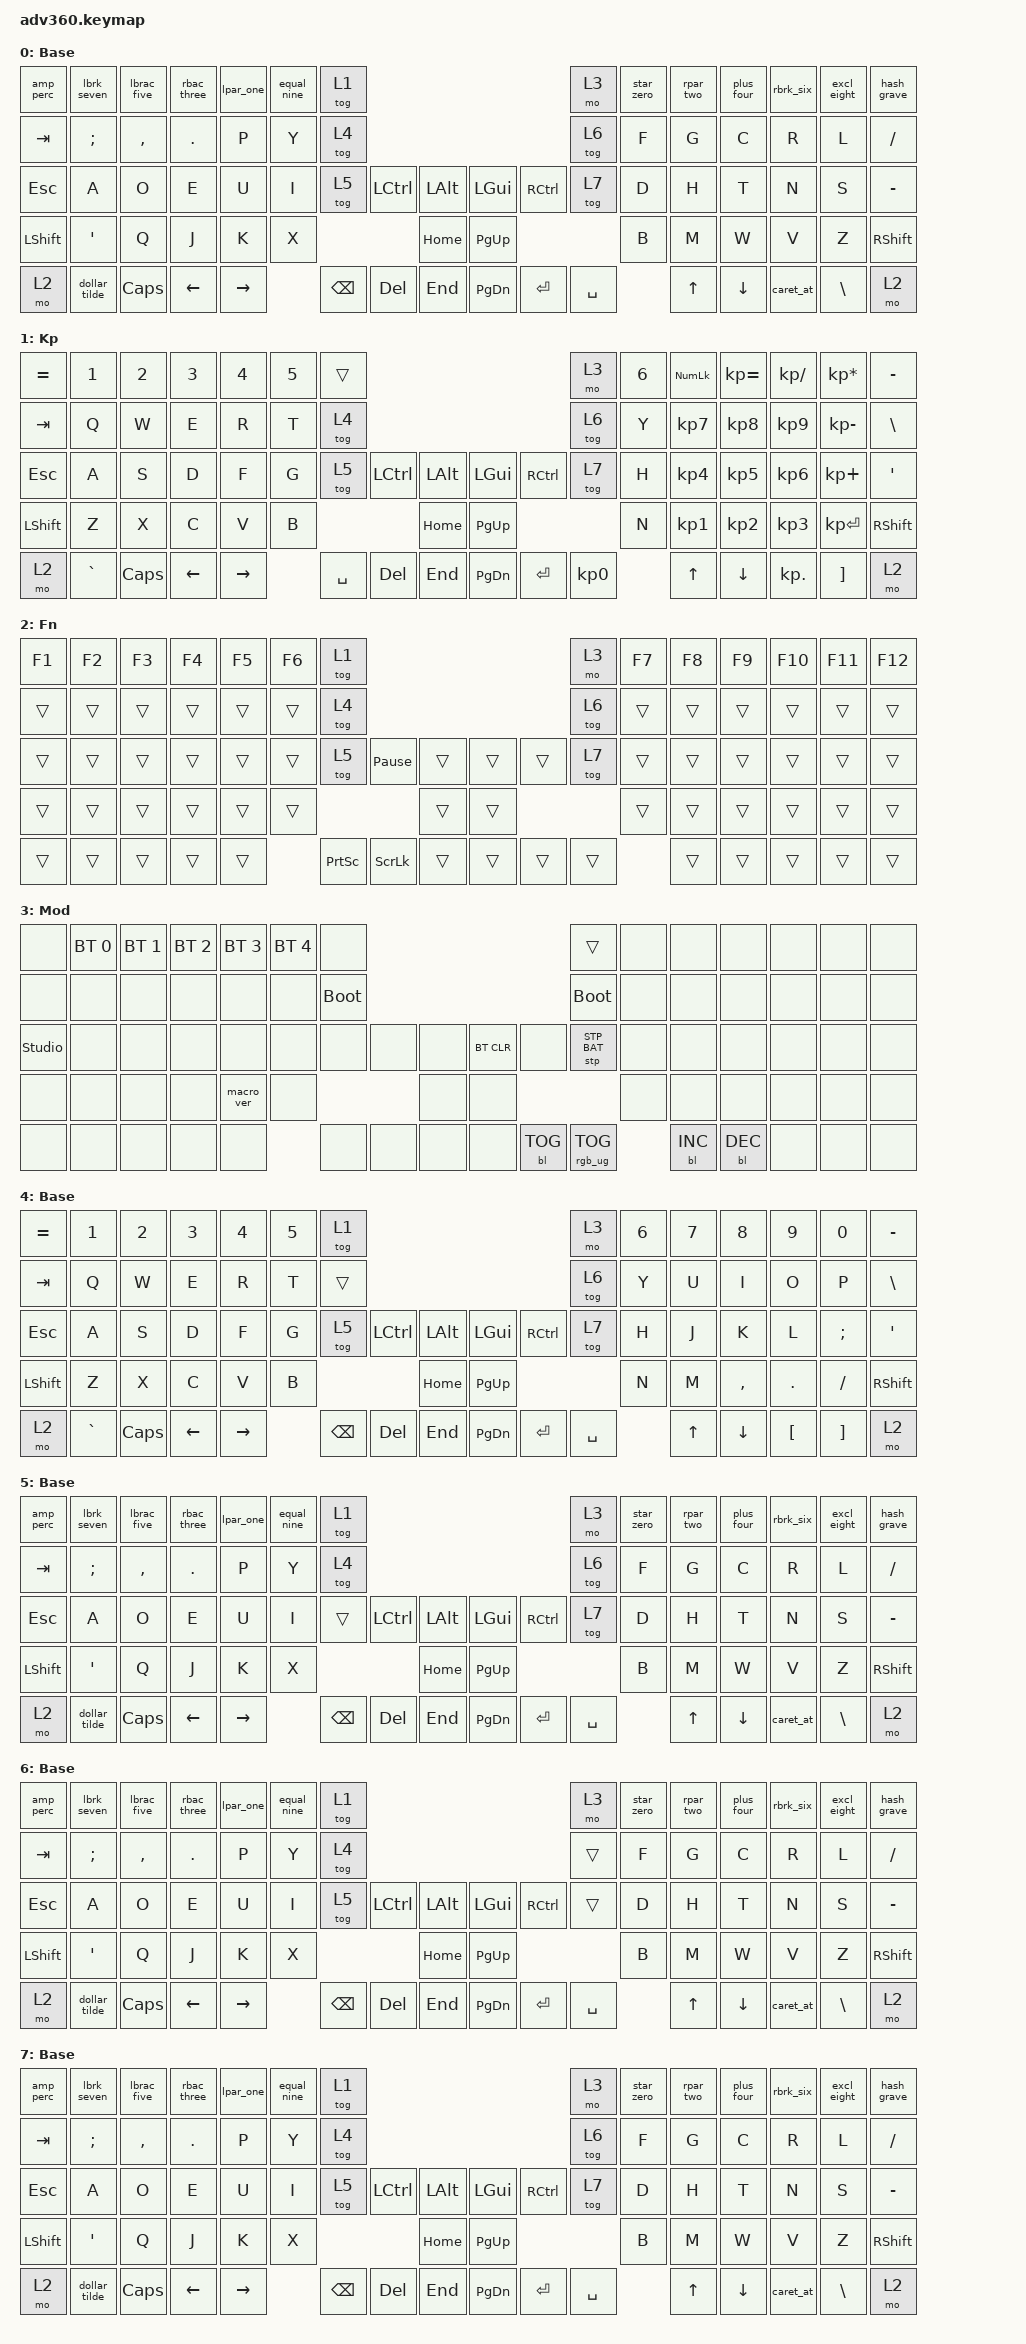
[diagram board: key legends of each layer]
#include <dt-bindings/zmk/stp.h>
#include <behaviors.dtsi>
#include <dt-bindings/zmk/backlight.h>
#include <dt-bindings/zmk/bt.h>
#include <dt-bindings/zmk/keys.h>
#include <dt-bindings/zmk/rgb.h>

/ {
    behaviors {
        #include "macros.dtsi"
      #include "version.dtsi"

        hm: homerow_mods {
            compatible = "zmk,behavior-hold-tap";
            label = "HOMEROW_MODS";
            #binding-cells = <2>;
            tapping-term-ms = <200>;
            quick_tap_ms = <175>;
            flavor = "tap-preferred";
            bindings = <&kp>, <&kp>;
        };

        dollar_tilde: dollar_tilde {
            compatible = "zmk,behavior-mod-morph";
            label = "DOLLAR_TILDE";
            bindings = <&kp DLLR>, <&kp TILDE>;

            #binding-cells = <0>;
            mods = <(MOD_LSFT|MOD_RSFT)>;
        };

        lpar_one: lpar_one {
            compatible = "zmk,behavior-mod-morph";
            label = "LPAR_ONE";
            bindings = <&kp LPAR>, <&kp KP_N1>;

            #binding-cells = <0>;
            mods = <(MOD_LSFT|MOD_RSFT)>;
        };

        rpar_two: rpar_two {
            compatible = "zmk,behavior-mod-morph";
            label = "RPAR_TWO";
            bindings = <&kp RPAR>, <&kp KP_N2>;

            #binding-cells = <0>;
            mods = <(MOD_LSFT|MOD_RSFT)>;
        };

        rbac_three: rbac_three {
            compatible = "zmk,behavior-mod-morph";
            label = "RBAC_THREE";
            bindings = <&kp RBRC>, <&kp KP_N3>;

            #binding-cells = <0>;
            mods = <(MOD_LSFT|MOD_RSFT)>;
        };

        lbrac_five: lbrac_five {
            compatible = "zmk,behavior-mod-morph";
            label = "LBRAC_FIVE";
            bindings = <&kp LBRC>, <&kp KP_N5>;

            #binding-cells = <0>;
            mods = <(MOD_LSFT|MOD_RSFT)>;
        };

        rbrk_six: rbrk_six {
            compatible = "zmk,behavior-mod-morph";
            label = "RBRK_SIX";
            bindings = <&kp RBKT>, <&kp KP_N6>;

            #binding-cells = <0>;
            mods = <(MOD_LSFT|MOD_RSFT)>;
        };

        lbrk_seven: lbrk_seven {
            compatible = "zmk,behavior-mod-morph";
            label = "LBRK_SEVEN";
            bindings = <&kp LBKT>, <&kp KP_N7>;

            #binding-cells = <0>;
            mods = <(MOD_LSFT|MOD_RSFT)>;
        };

        excl_eight: excl_eight {
            compatible = "zmk,behavior-mod-morph";
            label = "EXCL_EIGHT";
            bindings = <&kp EXCL>, <&kp KP_N8>;

            #binding-cells = <0>;
            mods = <(MOD_LSFT|MOD_RSFT)>;
        };

        equal_nine: equal_nine {
            compatible = "zmk,behavior-mod-morph";
            label = "EQUAL_NINE";
            bindings = <&kp EQUAL>, <&kp KP_N9>;

            #binding-cells = <0>;
            mods = <(MOD_LSFT|MOD_RSFT)>;
        };

        star_zero: star_zero {
            compatible = "zmk,behavior-mod-morph";
            label = "STAR_ZERO";
            bindings = <&kp STAR>, <&kp KP_N0>;

            #binding-cells = <0>;
            mods = <(MOD_LSFT|MOD_RSFT)>;
        };

        amp_perc: amp_perc {
            compatible = "zmk,behavior-mod-morph";
            label = "AMP_PERC";
            bindings = <&kp AMPS>, <&kp PERCENT>;

            #binding-cells = <0>;
            mods = <(MOD_LSFT|MOD_RSFT)>;
        };

        hash_grave: hash_grave {
            compatible = "zmk,behavior-mod-morph";
            label = "HASH_GRAVE";
            bindings = <&kp HASH>, <&kp GRAVE>;

            #binding-cells = <0>;
            mods = <(MOD_LSFT|MOD_RSFT)>;
        };

        caret_at: caret_at {
            compatible = "zmk,behavior-mod-morph";
            label = "CARET_AT";
            bindings = <&kp CARET>, <&kp AT>;

            #binding-cells = <0>;
            mods = <(MOD_LSFT|MOD_RSFT)>;
        };

        plus_four: plus_four {
            compatible = "zmk,behavior-mod-morph";
            label = "PLUS_FOUR";
            bindings = <&kp PLUS>, <&kp KP_N4>;

            #binding-cells = <0>;
            mods = <(MOD_LSFT|MOD_RSFT)>;
        };

        fslash_pipe: fslash_pipe {
            compatible = "zmk,behavior-mod-morph";
            label = "FSLASH_PIPE";
            bindings = <&kp FSLH>, <&kp PIPE>;

            #binding-cells = <0>;
            mods = <(MOD_LSFT|MOD_RSFT)>;
        };
    };

    keymap {
        compatible = "zmk,keymap";

        RProg_Dvorak {
            display-name = "Base";
            bindings = <
&amp_perc  &lbrk_seven    &lbrac_five  &rbac_three  &lpar_one  &equal_nine  &tog 1                                                   &mo 3      &star_zero  &rpar_two  &plus_four  &rbrk_six  &excl_eight  &hash_grave
&kp TAB    &kp SEMI       &kp COMMA    &kp PERIOD   &kp P      &kp Y        &tog 4                                                   &tog 6     &kp F       &kp G      &kp C       &kp R      &kp L        &kp SLASH
&kp ESC    &kp A          &kp O        &kp E        &kp U      &kp I        &tog 5    &kp LCTRL  &kp LALT      &kp LGUI   &kp RCTRL  &tog 7     &kp D       &kp H      &kp T       &kp N      &kp S        &kp MINUS
&kp LSHFT  &kp APOS       &kp Q        &kp J        &kp K      &kp X                             &kp HOME      &kp PG_UP                        &kp B       &kp M      &kp W       &kp V      &kp Z        &kp RSHFT
&mo 2      &dollar_tilde  &kp CAPS     &kp LEFT     &kp RIGHT               &kp BSPC  &kp DEL    &kp END       &kp PG_DN  &kp ENTER  &kp SPACE              &kp UP     &kp DOWN    &caret_at  &kp BSLH     &mo 2
            >;
        };

        keypad {
            display-name = "Kp";
            bindings = <
&kp EQUAL  &kp N1     &kp N2    &kp N3    &kp N4     &kp N5  &trans                                                    &mo 3      &kp N6  &kp KP_NUM  &kp KP_EQUAL  &kp KP_DIVIDE  &kp KP_MULTIPLY  &kp MINUS
&kp TAB    &kp Q      &kp W     &kp E     &kp R      &kp T   &tog 4                                                    &tog 6     &kp Y   &kp KP_N7   &kp KP_N8     &kp KP_N9      &kp KP_MINUS     &kp BSLH
&kp ESC    &kp A      &kp S     &kp D     &kp F      &kp G   &tog 5     &kp LCTRL  &kp LALT      &kp LGUI   &kp RCTRL  &tog 7     &kp H   &kp KP_N4   &kp KP_N5     &kp KP_N6      &kp KP_PLUS      &kp SQT
&kp LSHFT  &kp Z      &kp X     &kp C     &kp V      &kp B                         &kp HOME      &kp PG_UP                        &kp N   &kp KP_N1   &kp KP_N2     &kp KP_N3      &kp KP_ENTER     &kp RSHFT
&mo 2      &kp GRAVE  &kp CAPS  &kp LEFT  &kp RIGHT          &kp SPACE  &kp DEL    &kp END       &kp PG_DN  &kp ENTER  &kp KP_N0          &kp UP      &kp DOWN      &kp KP_DOT     &kp RBKT         &mo 2
            >;
        };

        fn {
            display-name = "Fn";
            bindings = <
&kp F1  &kp F2  &kp F3  &kp F4  &kp F5  &kp F6  &tog 1                                                        &mo 3   &kp F7  &kp F8  &kp F9  &kp F10  &kp F11  &kp F12
&trans  &trans  &trans  &trans  &trans  &trans  &tog 4                                                        &tog 6  &trans  &trans  &trans  &trans   &trans   &trans
&trans  &trans  &trans  &trans  &trans  &trans  &tog 5           &kp PAUSE_BREAK  &trans      &trans  &trans  &tog 7  &trans  &trans  &trans  &trans   &trans   &trans
&trans  &trans  &trans  &trans  &trans  &trans                                    &trans      &trans                  &trans  &trans  &trans  &trans   &trans   &trans
&trans  &trans  &trans  &trans  &trans          &kp PRINTSCREEN  &kp SCROLLLOCK   &trans      &trans  &trans  &trans          &trans  &trans  &trans   &trans   &trans
            >;
        };

        mod {
            display-name = "Mod";
            bindings = <
&none           &bt BT_SEL 0  &bt BT_SEL 1  &bt BT_SEL 2  &bt BT_SEL 3  &bt BT_SEL 4  &none                                                  &trans           &none  &none       &none       &none  &none  &none
&none           &none         &none         &none         &none         &none         &bootloader                                            &bootloader      &none  &none       &none       &none  &none  &none
&studio_unlock  &none         &none         &none         &none         &none         &none        &none  &none      &bt BT_CLR  &none       &stp STP_BAT     &none  &none       &none       &none  &none  &none
&none           &none         &none         &none         &macro_ver    &none                             &none      &none                                    &none  &none       &none       &none  &none  &none
&none           &none         &none         &none         &none                       &none        &none  &none      &none       &bl BL_TOG  &rgb_ug RGB_TOG         &bl BL_INC  &bl BL_DEC  &none  &none  &none
            >;
        };

        One {
            display-name = "Base";
            bindings = <
&kp EQUAL  &kp NUMBER_1  &kp NUMBER_2  &kp NUMBER_3  &kp NUMBER_4  &kp N5  &tog 1                                                   &mo 3      &kp NUMBER_6  &kp N7  &kp N8     &kp N9            &kp N0             &kp MINUS
&kp TAB    &kp Q         &kp W         &kp E         &kp R         &kp T   &trans                                                   &tog 6     &kp Y         &kp U   &kp I      &kp O             &kp P              &kp BACKSLASH
&kp ESC    &kp A         &kp S         &kp D         &kp F         &kp G   &tog 5    &kp LCTRL  &kp LALT      &kp LGUI   &kp RCTRL  &tog 7     &kp H         &kp J   &kp K      &kp L             &kp SEMICOLON      &kp SQT
&kp LSHFT  &kp Z         &kp X         &kp C         &kp V         &kp B                        &kp HOME      &kp PG_UP                        &kp N         &kp M   &kp COMMA  &kp PERIOD        &kp SLASH          &kp RSHFT
&mo 2      &kp GRAVE     &kp CAPS      &kp LEFT      &kp RIGHT             &kp BSPC  &kp DEL    &kp END       &kp PG_DN  &kp ENTER  &kp SPACE                &kp UP  &kp DOWN   &kp LEFT_BRACKET  &kp RIGHT_BRACKET  &mo 2
            >;
        };

        two {
            display-name = "Base";
            bindings = <
&amp_perc  &lbrk_seven    &lbrac_five  &rbac_three  &lpar_one  &equal_nine  &tog 1                                                   &mo 3      &star_zero  &rpar_two  &plus_four  &rbrk_six  &excl_eight  &hash_grave
&kp TAB    &kp SEMI       &kp COMMA    &kp PERIOD   &kp P      &kp Y        &tog 4                                                   &tog 6     &kp F       &kp G      &kp C       &kp R      &kp L        &kp SLASH
&kp ESC    &kp A          &kp O        &kp E        &kp U      &kp I        &trans    &kp LCTRL  &kp LALT      &kp LGUI   &kp RCTRL  &tog 7     &kp D       &kp H      &kp T       &kp N      &kp S        &kp MINUS
&kp LSHFT  &kp APOS       &kp Q        &kp J        &kp K      &kp X                             &kp HOME      &kp PG_UP                        &kp B       &kp M      &kp W       &kp V      &kp Z        &kp RSHFT
&mo 2      &dollar_tilde  &kp CAPS     &kp LEFT     &kp RIGHT               &kp BSPC  &kp DEL    &kp END       &kp PG_DN  &kp ENTER  &kp SPACE              &kp UP     &kp DOWN    &caret_at  &kp BSLH     &mo 2
            >;
        };

        Three {
            display-name = "Base";
            bindings = <
&amp_perc  &lbrk_seven    &lbrac_five  &rbac_three  &lpar_one  &equal_nine  &tog 1                                                   &mo 3      &star_zero  &rpar_two  &plus_four  &rbrk_six  &excl_eight  &hash_grave
&kp TAB    &kp SEMI       &kp COMMA    &kp PERIOD   &kp P      &kp Y        &tog 4                                                   &trans     &kp F       &kp G      &kp C       &kp R      &kp L        &kp SLASH
&kp ESC    &kp A          &kp O        &kp E        &kp U      &kp I        &tog 5    &kp LCTRL  &kp LALT      &kp LGUI   &kp RCTRL  &trans     &kp D       &kp H      &kp T       &kp N      &kp S        &kp MINUS
&kp LSHFT  &kp APOS       &kp Q        &kp J        &kp K      &kp X                             &kp HOME      &kp PG_UP                        &kp B       &kp M      &kp W       &kp V      &kp Z        &kp RSHFT
&mo 2      &dollar_tilde  &kp CAPS     &kp LEFT     &kp RIGHT               &kp BSPC  &kp DEL    &kp END       &kp PG_DN  &kp ENTER  &kp SPACE              &kp UP     &kp DOWN    &caret_at  &kp BSLH     &mo 2
            >;
        };

        Four {
            display-name = "Base";
            bindings = <
&amp_perc  &lbrk_seven    &lbrac_five  &rbac_three  &lpar_one  &equal_nine  &tog 1                                                   &mo 3      &star_zero  &rpar_two  &plus_four  &rbrk_six  &excl_eight  &hash_grave
&kp TAB    &kp SEMI       &kp COMMA    &kp PERIOD   &kp P      &kp Y        &tog 4                                                   &tog 6     &kp F       &kp G      &kp C       &kp R      &kp L        &kp SLASH
&kp ESC    &kp A          &kp O        &kp E        &kp U      &kp I        &tog 5    &kp LCTRL  &kp LALT      &kp LGUI   &kp RCTRL  &tog 7     &kp D       &kp H      &kp T       &kp N      &kp S        &kp MINUS
&kp LSHFT  &kp APOS       &kp Q        &kp J        &kp K      &kp X                             &kp HOME      &kp PG_UP                        &kp B       &kp M      &kp W       &kp V      &kp Z        &kp RSHFT
&mo 2      &dollar_tilde  &kp CAPS     &kp LEFT     &kp RIGHT               &kp BSPC  &kp DEL    &kp END       &kp PG_DN  &kp ENTER  &kp SPACE              &kp UP     &kp DOWN    &caret_at  &kp BSLH     &mo 2
            >;
        };
    };
};
